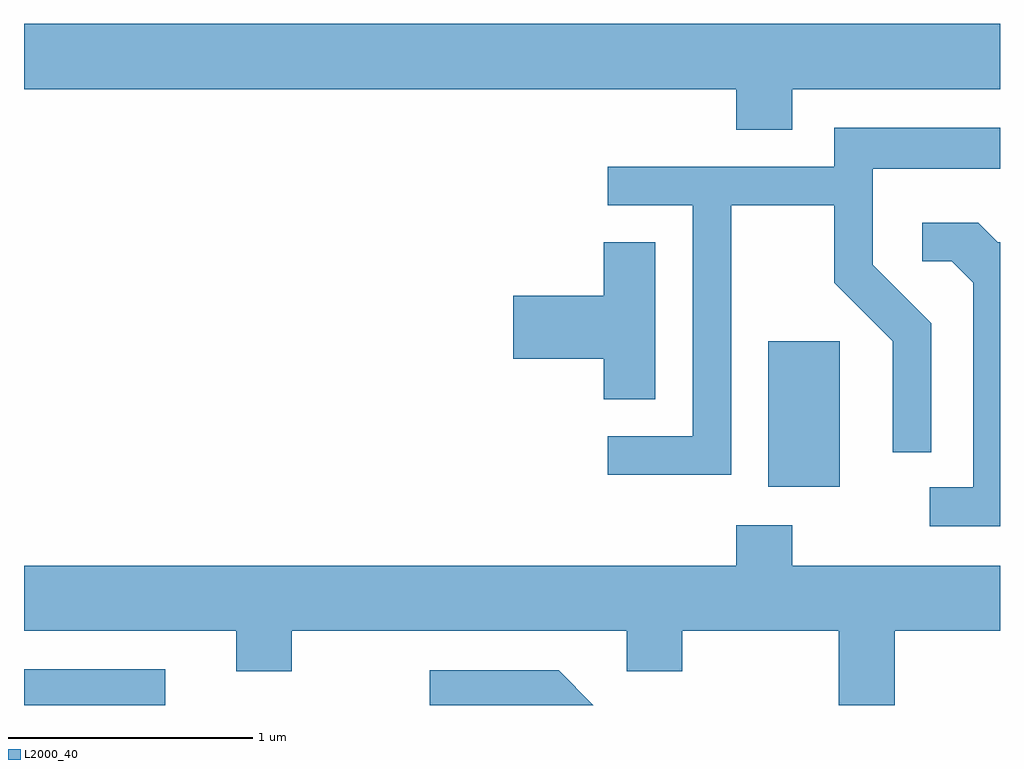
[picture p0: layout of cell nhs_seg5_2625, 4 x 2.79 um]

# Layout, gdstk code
import gdstk
lib = gdstk.Library(unit=1e-6, precision=1e-09)
def R(c, l, rs):  # rectangles x0, y0, x1, y1
    for r in rs: c.add(gdstk.rectangle(r[:2], r[2:], *l))
def P(c, l, *ps):  # polygons
    for p in ps: c.add(gdstk.Polygon(p, *l))
L2000_40 = (2000, 40)

nhs_seg5_2625 = lib.new_cell('nhs_seg5_2625')
R(nhs_seg5_2625, L2000_40, [(263.611,1432.072,264.189,1432.219), (266.661,1432.966,266.954,1433.564)])
P(nhs_seg5_2625, L2000_40, [(266.759,1434.596),(267.611,1434.596),(267.611,1434.864),(263.611,1434.864),(263.611,1434.596),(266.531,1434.596),(266.531,1434.431),(266.759,1434.431)],
  [(266.509,1434.121),(266.931,1434.121),(266.931,1433.804),(267.171,1433.564),(267.171,1433.108),(267.329,1433.108),(267.329,1433.637),(267.089,1433.877),(267.089,1434.271),(267.611,1434.271),(267.611,1434.439),(266.931,1434.439),(266.931,1434.279),(266.003,1434.279),(266.003,1434.121),(266.351,1434.121),(266.351,1433.174),(266.003,1433.174),(266.003,1433.016),(266.509,1433.016)],
  [(267.611,1433.969),(267.602,1433.969),(267.522,1434.049),(267.293,1434.049),(267.293,1433.891),(267.414,1433.891),(267.501,1433.804),(267.501,1432.964),(267.323,1432.964),(267.323,1432.806),(267.611,1432.806)],
  [(266.199,1433.969),(265.986,1433.969),(265.986,1433.749),(265.616,1433.749),(265.616,1433.491),(265.986,1433.491),(265.986,1433.326),(266.199,1433.326)],
  [(267.179,1432.376),(267.611,1432.376),(267.611,1432.644),(266.759,1432.644),(266.759,1432.809),(266.531,1432.809),(266.531,1432.644),(263.611,1432.644),(263.611,1432.376),(264.481,1432.376),(264.481,1432.211),(264.709,1432.211),(264.709,1432.376),(266.081,1432.376),(266.081,1432.211),(266.309,1432.211),(266.309,1432.376),(266.951,1432.376),(266.951,1432.072),(267.179,1432.072)],
  [(265.802,1432.214),(265.273,1432.214),(265.273,1432.072),(265.944,1432.072)])

lib.write_gds('nhs_seg5_2625.gds')
